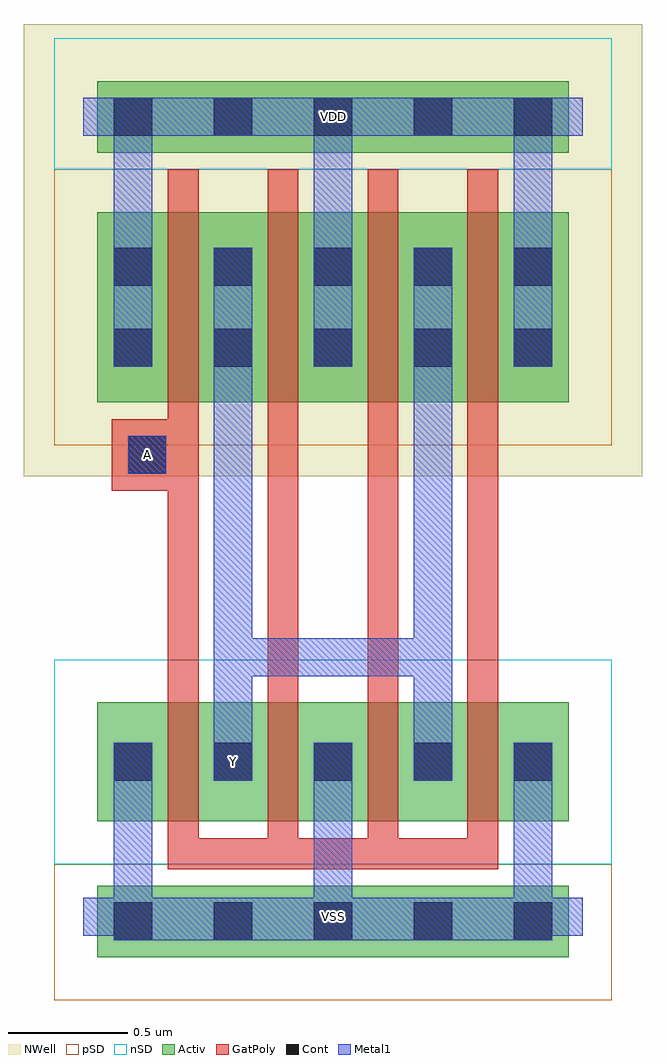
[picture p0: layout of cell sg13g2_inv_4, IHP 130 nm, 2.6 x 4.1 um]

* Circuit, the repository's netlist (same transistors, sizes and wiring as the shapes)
* sg13g2_inv_4 -- generated by design/gen_netlists.py from example_config.json; do not edit.
* family inv, drive 4, L=130n, supply 1.20 V.
* Y = !A
.subckt sg13g2_inv_4 A Y VDD VSS
XMN0 Y A VSS VSS sg13_lv_nmos w=2000n l=130n ng=2 m=1
XMP0 Y A VDD VDD sg13_lv_pmos w=3200n l=130n ng=4 m=1
.ends sg13g2_inv_4

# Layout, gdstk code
import gdstk
lib = gdstk.Library(unit=1e-6, precision=1e-09)
def R(c, l, rs):  # rectangles x0, y0, x1, y1
    for r in rs: c.add(gdstk.rectangle(r[:2], r[2:], *l))
def A(c, l, x, y, w, h, nx, ny, dx, dy):  # array of equal rectangles
    R(c, l, [(x+i*dx, y+j*dy, x+i*dx+w, y+j*dy+h) for i in range(nx) for j in range(ny)])
Activ = (1, 0)
GatPoly = (5, 0)
Cont = (6, 0)
nSD = (7, 0)
Metal1 = (8, 0)
pSD = (14, 0)
NWell = (31, 0)

sg13g2_inv_4 = lib.new_cell('sg13g2_inv_4')
R(sg13g2_inv_4, Activ, [(0.06,-0.17,2.04,0.13), (0.06,0.4,2.04,0.9), (0.06,2.16,2.04,2.96), (0.06,3.21,2.04,3.51)])
A(sg13g2_inv_4, GatPoly, 0.355, 0.2, 0.13, 2.94, 4, 1, 0.42, 0)
R(sg13g2_inv_4, GatPoly, [(0.355,0.2,1.745,0.33), (0.12,1.79,0.485,2.09)])
A(sg13g2_inv_4, Cont, 0.13, -0.1, 0.16, 0.16, 5, 2, 0.42, 0.67)
A(sg13g2_inv_4, Cont, 0.13, 2.31, 0.16, 0.16, 5, 2, 0.42, 0.34)
A(sg13g2_inv_4, Cont, 0.13, 3.28, 0.16, 0.16, 5, 1, 0.42, 0)
R(sg13g2_inv_4, Cont, [(0.19,1.86,0.35,2.02)])
R(sg13g2_inv_4, nSD, [(-0.12,0.22,2.22,1.08), (-0.12,3.14,2.22,3.69)])
A(sg13g2_inv_4, Metal1, 0.13, -0.08, 0.16, 0.81, 3, 1, 0.84, 0)
A(sg13g2_inv_4, Metal1, 0.13, 2.31, 0.16, 1.13, 3, 1, 0.84, 0)
R(sg13g2_inv_4, Metal1, [(0.13,-0.1,1.97,0.08), (0,-0.08,2.1,0.08), (0.55,0.57,0.71,1.17), (1.39,0.57,1.55,1.17), (0.55,1.01,0.71,2.81), (0.55,1.01,1.55,1.17), (1.39,1.01,1.55,2.81), (0.19,1.86,0.35,2.02), (0,3.28,2.1,3.44), (0.13,3.28,1.97,3.44)])
R(sg13g2_inv_4, pSD, [(-0.12,-0.35,2.22,0.22), (-0.12,1.98,2.22,3.14)])
R(sg13g2_inv_4, NWell, [(-0.25,1.85,2.35,3.75)])
sg13g2_inv_4.add(gdstk.Label('A', (0.27,1.94), layer=8, texttype=25))
sg13g2_inv_4.add(gdstk.Label('Y', (0.63,0.65), layer=8, texttype=25))
sg13g2_inv_4.add(gdstk.Label('VSS', (1.05,0), layer=8, texttype=25))
sg13g2_inv_4.add(gdstk.Label('VDD', (1.05,3.36), layer=8, texttype=25))

lib.write_gds('sg13g2_inv_4.gds')
